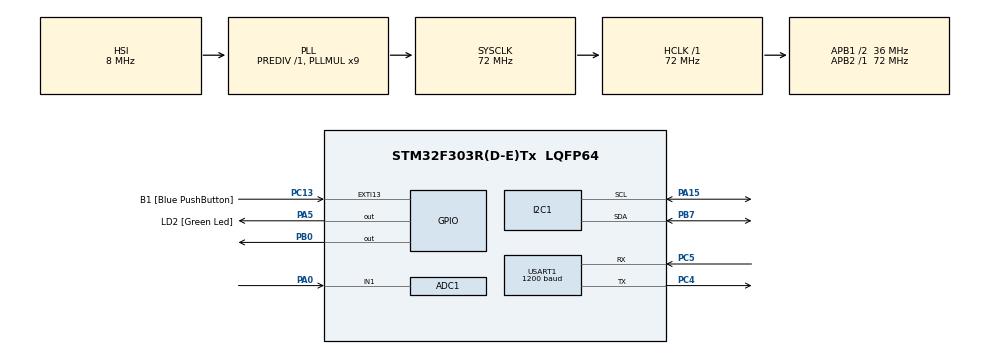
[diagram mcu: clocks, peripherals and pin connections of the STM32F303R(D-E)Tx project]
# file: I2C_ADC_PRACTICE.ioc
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ADC1.Channel-0\#ChannelRegularConversion=ADC_CHANNEL_1
ADC1.NbrOfConversionFlag=1
ADC1.Offset-0\#ChannelRegularConversion=0
ADC1.OffsetNumber-0\#ChannelRegularConversion=ADC_OFFSET_NONE
ADC1.Rank-0\#ChannelRegularConversion=1
ADC1.SamplingTime-0\#ChannelRegularConversion=ADC_SAMPLETIME_1CYCLE_5
ADC1.SamplingTimeOPAMP-0\#ChannelRegularConversion=ADC_SAMPLETIME_61CYCLES_5
ADC1.master=1
Mcu.Family=STM32F3
Mcu.Name=STM32F303R(D-E)Tx
Mcu.Package=LQFP64
NVIC.EXTI15_10_IRQn=true\:0\:0\:false\:false\:true\:true\:true
NVIC.PriorityGroup=NVIC_PRIORITYGROUP_0
PA0.Mode=IN1-Single-Ended
PA0.Signal=ADC1_IN1
PA13.GPIO_Label=TMS
PA13.Mode=Serial_Wire
PA13.Signal=SYS_JTMS-SWDIO
PA14.GPIO_Label=TCK
PA14.Mode=Serial_Wire
PA14.Signal=SYS_JTCK-SWCLK
PA15.Mode=I2C
PA15.Signal=I2C1_SCL
PA2.GPIO_Label=USART_TX
PA2.GPIO_Mode=GPIO_MODE_AF_PP
PA2.GPIO_PuPd=GPIO_NOPULL
PA2.GPIO_Speed=GPIO_SPEED_FREQ_LOW
PA2.Signal=USART2_TX
PA3.GPIO_Label=USART_RX
PA3.GPIO_Mode=GPIO_MODE_AF_PP
PA3.GPIO_PuPd=GPIO_NOPULL
PA3.GPIO_Speed=GPIO_SPEED_FREQ_LOW
PA3.Signal=USART2_RX
PA5.GPIO_Label=LD2 [Green Led]
PA5.GPIO_Mode=GPIO_MODE_OUTPUT_PP
PA5.GPIO_PuPd=GPIO_NOPULL
PA5.GPIO_Speed=GPIO_SPEED_FREQ_LOW
PA5.Signal=GPIO_Output
PB0.PinState=GPIO_PIN_RESET
PB0.Signal=GPIO_Output
PB3.GPIO_Label=SWO
PB3.Signal=SYS_JTDO-TRACESWO
PB7.Mode=I2C
PB7.Signal=I2C1_SDA
PC13.GPIO_Label=B1 [Blue PushButton]
PC13.GPIO_ModeDefaultEXTI=GPIO_MODE_IT_FALLING
PC13.Signal=GPXTI13
PC14-OSC32_IN.Mode=LSE-External-Oscillator
PC14-OSC32_IN.Signal=RCC_OSC32_IN
PC15-OSC32_OUT.Mode=LSE-External-Oscillator
PC15-OSC32_OUT.Signal=RCC_OSC32_OUT
PC4.Mode=Asynchronous
PC4.Signal=USART1_TX
PC5.Mode=Asynchronous
PC5.Signal=USART1_RX
PF0-OSC_IN.Mode=HSE-External-Clock-Source
PF0-OSC_IN.Signal=RCC_OSC_IN
PF1-OSC_OUT.Signal=RCC_OSC_OUT
ProjectManager.HeapSize=0x200
ProjectManager.StackSize=0x400
ProjectManager.TargetToolchain=STM32CubeIDE
RCC.AHBFreq_Value=72000000
RCC.APB1CLKDivider=RCC_HCLK_DIV2
RCC.APB1Freq_Value=36000000
RCC.APB1TimFreq_Value=72000000
RCC.APB2Freq_Value=72000000
RCC.APB2TimFreq_Value=72000000
RCC.CortexFreq_Value=72000000
RCC.HCLKFreq_Value=72000000
RCC.HSE_VALUE=8000000
RCC.HSI_VALUE=8000000
RCC.PLLM=8
RCC.PLLMUL=RCC_PLL_MUL9
RCC.PLLN=336
RCC.PLLP=RCC_PLLP_DIV4
RCC.PLLQ=7
RCC.RCC_PLLsource_Clock_Source_FROM_HSE=RCC_HSE_PREDIV_DIV2
RCC.SYSCLKFreq_VALUE=72000000
RCC.SYSCLKSourceVirtual=RCC_SYSCLKSOURCE_PLLCLK
RCC.USBFreq_Value=72000000
USART1.BaudRate=1200
USART1.VirtualMode-Asynchronous=VM_ASYNC
board=NUCLEO-F303RE

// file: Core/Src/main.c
/* USER CODE BEGIN Header */
/**
  ******************************************************************************
  * @file           : main.c
  * @brief          : Main program body
  ******************************************************************************
  * @attention
  *
  * <h2><center>&copy; Copyright (c) 2021 STMicroelectronics.
  * All rights reserved.</center></h2>
  *
  * This software component is licensed by ST under BSD 3-Clause license,
  * the "License"; You may not use this file except in compliance with the
  * License. You may obtain a copy of the License at:
  *                        opensource.org/licenses/BSD-3-Clause
  *
  ******************************************************************************
  */
/* USER CODE END Header */
#include "main.h"

/* USER CODE BEGIN Includes */
#include <string.h>
#include <stdio.h>
/* USER CODE END Includes */

ADC_HandleTypeDef hadc1;

I2C_HandleTypeDef hi2c1;

UART_HandleTypeDef huart1;

void SystemClock_Config(void);
static void MX_GPIO_Init(void);
static void MX_I2C1_Init(void);
static void MX_ADC1_Init(void);
static void MX_USART1_UART_Init(void);

int main(void)
{
  /* USER CODE BEGIN 1 */
  uint16_t raw;
  char msg[10];
  /* USER CODE END 1 */

  /* MCU Configuration--------------------------------------------------------*/

  /* Reset of all peripherals, Initializes the Flash interface and the Systick. */
  HAL_Init();

  /* Configure the system clock */
  SystemClock_Config();

  /* Initialize all configured peripherals */
  MX_GPIO_Init();
  MX_I2C1_Init();
  MX_ADC1_Init();
  MX_USART1_UART_Init();

  /* Infinite loop */
  while (1)
  {

    /* USER CODE BEGIN 3 */

	HAL_ADC_Start(&hadc1);
	HAL_ADC_PollForConversion(&hadc1, HAL_MAX_DELAY);
	raw = HAL_ADC_GetValue(&hadc1);

	raw = 3300 * raw / 4095;

	sprintf(msg, "%humV\r\n", raw);
	HAL_UART_Transmit(&huart1, (uint8_t*)msg, strlen(msg), HAL_MAX_DELAY);

	HAL_Delay(1);
  }
  /* USER CODE END 3 */
}

void SystemClock_Config(void)
{
  RCC_OscInitTypeDef RCC_OscInitStruct = {0};
  RCC_ClkInitTypeDef RCC_ClkInitStruct = {0};
  RCC_PeriphCLKInitTypeDef PeriphClkInit = {0};

  /** Initializes the RCC Oscillators according to the specified parameters
  * in the RCC_OscInitTypeDef structure.
  */
  RCC_OscInitStruct.OscillatorType = RCC_OSCILLATORTYPE_HSI;
  RCC_OscInitStruct.HSIState = RCC_HSI_ON;
  RCC_OscInitStruct.HSICalibrationValue = RCC_HSICALIBRATION_DEFAULT;
  RCC_OscInitStruct.PLL.PLLState = RCC_PLL_ON;
  RCC_OscInitStruct.PLL.PLLSource = RCC_PLLSOURCE_HSI;
  RCC_OscInitStruct.PLL.PLLMUL = RCC_PLL_MUL9;
  RCC_OscInitStruct.PLL.PREDIV = RCC_PREDIV_DIV1;
  if (HAL_RCC_OscConfig(&RCC_OscInitStruct) != HAL_OK)
  {
    Error_Handler();
  }
  /** Initializes the CPU, AHB and APB buses clocks
  */
  RCC_ClkInitStruct.ClockType = RCC_CLOCKTYPE_HCLK|RCC_CLOCKTYPE_SYSCLK
                              |RCC_CLOCKTYPE_PCLK1|RCC_CLOCKTYPE_PCLK2;
  RCC_ClkInitStruct.SYSCLKSource = RCC_SYSCLKSOURCE_PLLCLK;
  RCC_ClkInitStruct.AHBCLKDivider = RCC_SYSCLK_DIV1;
  RCC_ClkInitStruct.APB1CLKDivider = RCC_HCLK_DIV2;
  RCC_ClkInitStruct.APB2CLKDivider = RCC_HCLK_DIV1;

  if (HAL_RCC_ClockConfig(&RCC_ClkInitStruct, FLASH_LATENCY_2) != HAL_OK)
  {
    Error_Handler();
  }
  PeriphClkInit.PeriphClockSelection = RCC_PERIPHCLK_USART1|RCC_PERIPHCLK_I2C1
                              |RCC_PERIPHCLK_ADC12;
  PeriphClkInit.Usart1ClockSelection = RCC_USART1CLKSOURCE_PCLK2;
  PeriphClkInit.Adc12ClockSelection = RCC_ADC12PLLCLK_DIV1;
  PeriphClkInit.I2c1ClockSelection = RCC_I2C1CLKSOURCE_HSI;
  if (HAL_RCCEx_PeriphCLKConfig(&PeriphClkInit) != HAL_OK)
  {
    Error_Handler();
  }
}

static void MX_ADC1_Init(void)
{

  ADC_MultiModeTypeDef multimode = {0};
  ADC_ChannelConfTypeDef sConfig = {0};

  /** Common config
  */
  hadc1.Instance = ADC1;
  hadc1.Init.ClockPrescaler = ADC_CLOCK_ASYNC_DIV1;
  hadc1.Init.Resolution = ADC_RESOLUTION_12B;
  hadc1.Init.ScanConvMode = ADC_SCAN_DISABLE;
  hadc1.Init.ContinuousConvMode = DISABLE;
  hadc1.Init.DiscontinuousConvMode = DISABLE;
  hadc1.Init.ExternalTrigConvEdge = ADC_EXTERNALTRIGCONVEDGE_NONE;
  hadc1.Init.ExternalTrigConv = ADC_SOFTWARE_START;
  hadc1.Init.DataAlign = ADC_DATAALIGN_RIGHT;
  hadc1.Init.NbrOfConversion = 1;
  hadc1.Init.DMAContinuousRequests = DISABLE;
  hadc1.Init.EOCSelection = ADC_EOC_SINGLE_CONV;
  hadc1.Init.LowPowerAutoWait = DISABLE;
  hadc1.Init.Overrun = ADC_OVR_DATA_OVERWRITTEN;
  if (HAL_ADC_Init(&hadc1) != HAL_OK)
  {
    Error_Handler();
  }
  /** Configure the ADC multi-mode
  */
  multimode.Mode = ADC_MODE_INDEPENDENT;
  if (HAL_ADCEx_MultiModeConfigChannel(&hadc1, &multimode) != HAL_OK)
  {
    Error_Handler();
  }
  /** Configure Regular Channel
  */
  sConfig.Channel = ADC_CHANNEL_1;
  sConfig.Rank = ADC_REGULAR_RANK_1;
  sConfig.SingleDiff = ADC_SINGLE_ENDED;
  sConfig.SamplingTime = ADC_SAMPLETIME_1CYCLE_5;
  sConfig.OffsetNumber = ADC_OFFSET_NONE;
  sConfig.Offset = 0;
  if (HAL_ADC_ConfigChannel(&hadc1, &sConfig) != HAL_OK)
  {
    Error_Handler();
  }

}

static void MX_I2C1_Init(void)
{

  hi2c1.Instance = I2C1;
  hi2c1.Init.Timing = 0x2000090E;
  hi2c1.Init.OwnAddress1 = 0;
  hi2c1.Init.AddressingMode = I2C_ADDRESSINGMODE_7BIT;
  hi2c1.Init.DualAddressMode = I2C_DUALADDRESS_DISABLE;
  hi2c1.Init.OwnAddress2 = 0;
  hi2c1.Init.OwnAddress2Masks = I2C_OA2_NOMASK;
  hi2c1.Init.GeneralCallMode = I2C_GENERALCALL_DISABLE;
  hi2c1.Init.NoStretchMode = I2C_NOSTRETCH_DISABLE;
  if (HAL_I2C_Init(&hi2c1) != HAL_OK)
  {
    Error_Handler();
  }
  /** Configure Analogue filter
  */
  if (HAL_I2CEx_ConfigAnalogFilter(&hi2c1, I2C_ANALOGFILTER_ENABLE) != HAL_OK)
  {
    Error_Handler();
  }
  /** Configure Digital filter
  */
  if (HAL_I2CEx_ConfigDigitalFilter(&hi2c1, 0) != HAL_OK)
  {
    Error_Handler();
  }

}

static void MX_USART1_UART_Init(void)
{

  huart1.Instance = USART1;
  huart1.Init.BaudRate = 1200;
  huart1.Init.WordLength = UART_WORDLENGTH_8B;
  huart1.Init.StopBits = UART_STOPBITS_1;
  huart1.Init.Parity = UART_PARITY_NONE;
  huart1.Init.Mode = UART_MODE_TX_RX;
  huart1.Init.HwFlowCtl = UART_HWCONTROL_NONE;
  huart1.Init.OverSampling = UART_OVERSAMPLING_16;
  huart1.Init.OneBitSampling = UART_ONE_BIT_SAMPLE_DISABLE;
  huart1.AdvancedInit.AdvFeatureInit = UART_ADVFEATURE_NO_INIT;
  if (HAL_UART_Init(&huart1) != HAL_OK)
  {
    Error_Handler();
  }

}

static void MX_GPIO_Init(void)
{
  GPIO_InitTypeDef GPIO_InitStruct = {0};

  /* GPIO Ports Clock Enable */
  __HAL_RCC_GPIOC_CLK_ENABLE();
  __HAL_RCC_GPIOF_CLK_ENABLE();
  __HAL_RCC_GPIOA_CLK_ENABLE();
  __HAL_RCC_GPIOB_CLK_ENABLE();

  /*Configure GPIO pin Output Level */
  HAL_GPIO_WritePin(LD2_GPIO_Port, LD2_Pin, GPIO_PIN_RESET);

  /*Configure GPIO pin Output Level */
  HAL_GPIO_WritePin(GPIOB, GPIO_PIN_0, GPIO_PIN_RESET);

  /*Configure GPIO pin : B1_Pin */
  GPIO_InitStruct.Pin = B1_Pin;
  GPIO_InitStruct.Mode = GPIO_MODE_IT_FALLING;
  GPIO_InitStruct.Pull = GPIO_NOPULL;
  HAL_GPIO_Init(B1_GPIO_Port, &GPIO_InitStruct);

  /*Configure GPIO pins : USART_TX_Pin USART_RX_Pin */
  GPIO_InitStruct.Pin = USART_TX_Pin|USART_RX_Pin;
  GPIO_InitStruct.Mode = GPIO_MODE_AF_PP;
  GPIO_InitStruct.Pull = GPIO_NOPULL;
  GPIO_InitStruct.Speed = GPIO_SPEED_FREQ_LOW;
  GPIO_InitStruct.Alternate = GPIO_AF7_USART2;
  HAL_GPIO_Init(GPIOA, &GPIO_InitStruct);

  /*Configure GPIO pin : LD2_Pin */
  GPIO_InitStruct.Pin = LD2_Pin;
  GPIO_InitStruct.Mode = GPIO_MODE_OUTPUT_PP;
  GPIO_InitStruct.Pull = GPIO_NOPULL;
  GPIO_InitStruct.Speed = GPIO_SPEED_FREQ_LOW;
  HAL_GPIO_Init(LD2_GPIO_Port, &GPIO_InitStruct);

  /*Configure GPIO pin : PB0 */
  GPIO_InitStruct.Pin = GPIO_PIN_0;
  GPIO_InitStruct.Mode = GPIO_MODE_OUTPUT_PP;
  GPIO_InitStruct.Pull = GPIO_NOPULL;
  GPIO_InitStruct.Speed = GPIO_SPEED_FREQ_LOW;
  HAL_GPIO_Init(GPIOB, &GPIO_InitStruct);

  /* EXTI interrupt init*/
  HAL_NVIC_SetPriority(EXTI15_10_IRQn, 0, 0);
  HAL_NVIC_EnableIRQ(EXTI15_10_IRQn);

}

/* USER CODE BEGIN 4 */

void HAL_GPIO_EXTI_Callback(uint16_t GPIO_Pin)
{
    if(GPIO_Pin == GPIO_PIN_13) // If The INT Source Is EXTI Line13 (A13 Pin)
    {
      HAL_GPIO_TogglePin(GPIOB,GPIO_PIN_0);
      HAL_GPIO_TogglePin(GPIOA, GPIO_PIN_5);
    }
}

/* USER CODE END 4 */

void Error_Handler(void)
{
  __disable_irq();
  while (1)
  {
  }
}

/************************ (C) COPYRIGHT STMicroelectronics *****END OF FILE****/
